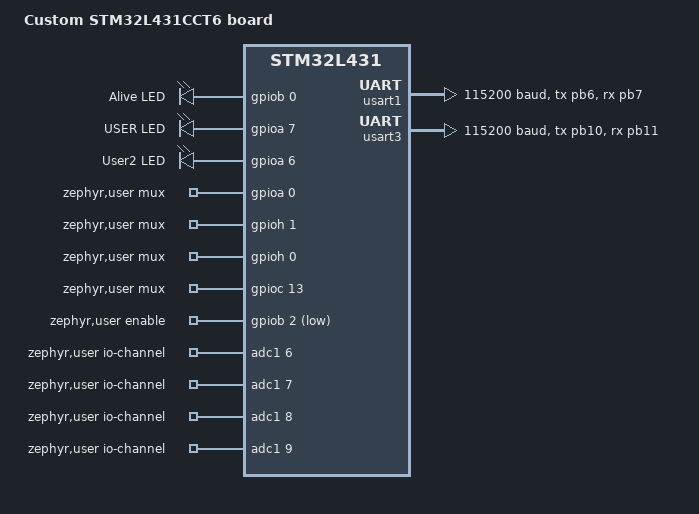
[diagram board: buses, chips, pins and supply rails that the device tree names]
/*
 * Copyright (c) 2017 Linaro Limited
 *
 * SPDX-License-Identifier: Apache-2.0
 */

/dts-v1/;
#include <st/l4/stm32l431Xc.dtsi>
#include <st/l4/stm32l431c(b-c)tx-pinctrl.dtsi>

/ {
	model = "Custom STM32L431CCT6 board";
	compatible = "st,stm32l431";

	chosen {
		zephyr,console = &usart1;
		zephyr,shell-uart = &usart1;
		zephyr,flash = &flash0;
		zephyr,sram = &sram0;
	};

	leds: leds {
		compatible = "gpio-leds";

		red_led: led_0 {
			gpios = <&gpiob 0 GPIO_ACTIVE_HIGH>;
			label = "Alive LED";
		};

		orange_led: led_1 {
			gpios = <&gpioa 7 GPIO_ACTIVE_HIGH>;
			label = "USER LED";
		};

		green_led: led_2 {
			gpios = <&gpioa 6 GPIO_ACTIVE_HIGH>;
			label = "User2 LED";
		};

	};

	aliases {
		led0 = &red_led;
		led1 = &orange_led;
	};


        zephyr,user {
            //               A0-PA0      A1-PA1    A2-PA4         A3-PB0       A4-PC1      A5-PC0
            io-channels = <&adc1 6>, <&adc1 7>, <&adc1 8>,  <&adc1 9> ;
            //io-channels = <&adc1 1>, <&adc1 2>;
	    mux-gpios = <&gpioa 0 GPIO_ACTIVE_HIGH>,
	    	        <&gpioh 1 GPIO_ACTIVE_HIGH>,
	    	        <&gpioh 0 GPIO_ACTIVE_HIGH>,
	    	        <&gpioc 13 GPIO_ACTIVE_HIGH>;

            enable-gpios =  <&gpiob 2 GPIO_ACTIVE_LOW>;
	};

};



/* Keep HSI enabled for system clock. This is 16Mhz */
&clk_hsi {
        status = "okay";
};

&clk_hse {
        status = "disabled";   /* no MHz external crystal */
};

/* Enable LSE for RTC/time base */
&clk_lse {
        status = "okay";
};


&clk_msi {
        status = "disabled";
};

/* Optional: keep LSI even LSE is enabled if you want dual RTC sources/watchdog */
&clk_lsi {
        status = "okay";
};

/* Configure PLL from HSI (16 MHz → 80 MHz) */
&pll {
        div-m = <1>;              /* /1  */
        mul-n = <20>;             /* ×20 */
        div-r = <4>;              /* /4  → 80 MHz */
        clocks = <&clk_hsi>;
        status = "okay";
};

/* Use PLL output as system clock */
&rcc {
        clocks = <&pll>;
        clock-frequency = <DT_FREQ_M(80)>;
        ahb-prescaler  = <1>;
        apb1-prescaler = <1>;
        apb2-prescaler = <1>;
};

&usart1 {
	pinctrl-0 = <&usart1_tx_pb6 &usart1_rx_pb7>;
	pinctrl-names = "default";
	current-speed = <115200>;
	status = "okay";
};

&usart3 {
	pinctrl-0 = <&usart3_tx_pb10 &usart3_rx_pb11>;
	pinctrl-names = "default";
	current-speed = <115200>;
	status = "okay";
};

//&flash0 {
//	partitions {
//		compatible = "fixed-partitions";
//		#address-cells = <1>;
//		#size-cells = <1>;

//		/*
//		 * Reserve the final 16 KiB for file system partition
//		 */
//		storage_partition: partition@3c000 {
//			label = "storage";
//			reg = <0x0003c000 DT_SIZE_K(16)>;
//		};
//	};
//};

&flash0 {
    partitions {
        compatible = "fixed-partitions";
        #address-cells = <1>;
        #size-cells = <1>;

        /* MCUboot bootloader: 36 KB */
        boot_partition: partition@0 {
            label = "mcuboot";
            reg = <0x00000000 DT_SIZE_K(36)>;
        };

        /* Primary image slot: 98 KB */
        slot0_partition: partition@9000 {
            label = "image-0";
            reg = <0x00009000 DT_SIZE_K(98)>;
        };

        /* Secondary image slot: 98 KB */
        slot1_partition: partition@11D00 {
            label = "image-1";
            reg = <0x00011D00 DT_SIZE_K(98)>;
        };

        /* Scratch: 8 KB */
        scratch_partition: partition@3A000 {
            label = "image-scratch";
            reg = <0x0003A000 DT_SIZE_K(8)>;
        };

        /* Storage / NVS: 16 KB at end of flash */
        storage_partition: partition@3C000 {
            label = "storage";
            reg = <0x0003C000 DT_SIZE_K(16)>;
        };
    };
};


&adc1 {
    pinctrl-0 = <&adc1_in6_pa1 &adc1_in7_pa2 &adc1_in8_pa3 &adc1_in9_pa4>;  // add whatever inputs you need
    pinctrl-names = "default";
    st,adc-clock-source = "SYNC";
    st,adc-prescaler = <4>;

    vref-mv = <3300>;
    status = "disabled";

     #address-cells = <1>;
    #size-cells = <0>;

    channel@6 {
        reg = <6>;
        zephyr,gain = "ADC_GAIN_1";
        zephyr,reference = "ADC_REF_INTERNAL";
        zephyr,acquisition-time = <ADC_ACQ_TIME_DEFAULT>;
        zephyr,resolution = <12>;
    };

    channel@7 {
        reg = <7>;
        zephyr,gain = "ADC_GAIN_1";
        zephyr,reference = "ADC_REF_INTERNAL";
        zephyr,acquisition-time = <ADC_ACQ_TIME_DEFAULT>;
        zephyr,resolution = <12>;
    };

    channel@8 {
        reg = <8>;
        zephyr,gain = "ADC_GAIN_1";
        zephyr,reference = "ADC_REF_INTERNAL";
        zephyr,acquisition-time = <ADC_ACQ_TIME_DEFAULT>;
        zephyr,resolution = <12>;
    };

    channel@9 {
        reg = <9>;
        zephyr,gain = "ADC_GAIN_1";
        zephyr,reference = "ADC_REF_INTERNAL";
        zephyr,acquisition-time = <ADC_ACQ_TIME_DEFAULT>;
        zephyr,resolution = <12>;
    };

};

